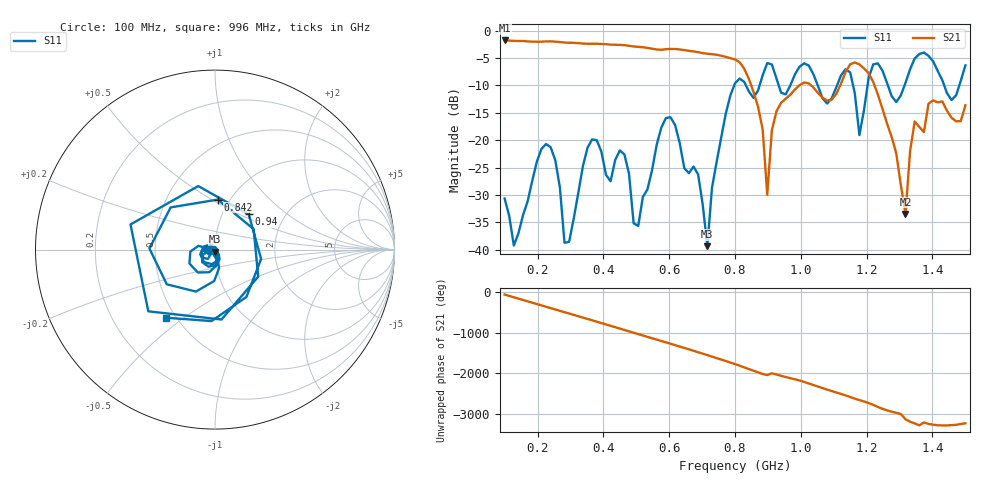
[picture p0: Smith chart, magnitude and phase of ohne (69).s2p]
! NanoVNA-App
! Date: 2025-09-26 09:55:56
! Start: 100MHz Stop: 1,5GHz Points: 101
! S-Parameter data: F S11 S21 S12 S22
# Hz S RI R 50
!  Frequency  S11_Real  S11_Imag  S21_Real  S21_Imag  S12_Real  S12_Imag  S22_Real  S22_Imag
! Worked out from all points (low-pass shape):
!   101 points, 100 MHz to 1.5 GHz, reference 50 ohm
!   highest |S21| = -1.79 dB at 100 MHz (marker M1); lowest = -33.5 dB at 1.318 GHz (marker M2)
!   |S21| within 3 dB of the highest: start of sweep to 772.1 MHz
!   lowest |S11| = -39.3 dB at 716 MHz (marker M3), VSWR 1.02, Z = 49.9 - j1.07 ohm
!   |S11| at or under -10 dB: start of sweep to 797.5 MHz; 833.3 MHz to 874.7 MHz (41.4 MHz wide, 4.85 % of centre); 1.052 GHz to 1.11 GHz (58.47 MHz wide, 5.41 % of centre) (the widest 3 of 7)
!   S12 and S22 are empty: the file has one direction only
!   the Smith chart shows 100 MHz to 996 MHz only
!   S11 on the Smith chart (normalised r, x): 100 MHz: 0.94, -0.01; 842 MHz: 0.88, +0.53; 940 MHz: 1.33, +0.56; 996 MHz: 0.44, -0.43
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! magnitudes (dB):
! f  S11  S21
! 100 MHz  -30.6  -1.8
! 128 MHz  -39.2  -1.9
! 226 MHz  -20.7  -2.0
! 296 MHz  -38.5  -2.2
! 338 MHz  -24.7  -2.4
! 464 MHz  -22.6  -2.7
! 506 MHz  -35.6  -3.0
! 576 MHz  -17.7  -3.5
! 716 MHz  -39.3  -4.2
! 800 MHz  -9.6  -5.3
! 842 MHz  -11.1  -8.8
! 898 MHz  -5.9  -30.0
! 940 MHz  -11.3  -13.2
! 996 MHz  -6.6  -9.9
! 1.038 GHz  -7.9  -10.4
! 1.15 GHz  -7.6  -6.1
! 1.178 GHz  -19.1  -6.2
! 1.22 GHz  -6.1  -9.4
! 1.276 GHz  -12.0  -19.4
! 1.318 GHz  -9.5  -33.5
! 1.346 GHz  -5.1  -16.6
! 1.5 GHz  -6.3  -13.6
